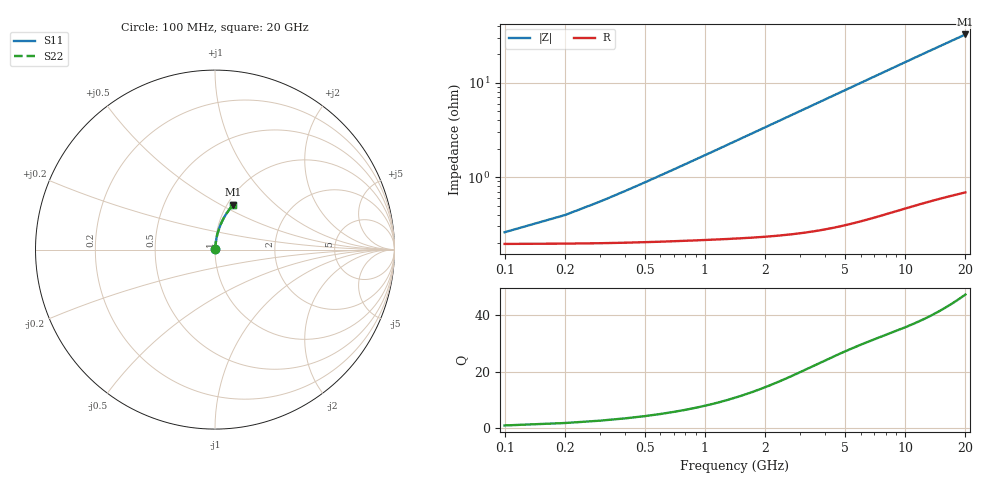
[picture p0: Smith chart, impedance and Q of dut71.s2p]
! Touchstone file exported from HFSS 2026.1.0
!  File:  C:/ffzhzh/LocalFiles/Ansys_Project_Files/temp_train_TMRDL_71_1782881207_42304.aedt
!  Generated:  12:48:00 PM Jul  1, 2026
!  Design:  TMRDL
!  Project:  temp_train_TMRDL_71_1782881207_42304
! Variables:
!  h_bsmrdl = 2um
!  h_ox = 20um
!  h_rdl = 5um
!  h_sub = 80um
!  h_tmrdl = 4.03um
!  h_tsv = 80um
!  h_via = 3um
!  l_bsmrdl = 300um
!  l_sub = 612.48um
!  l_tmrdl = 212.48um
!  m_sub = 200um
!  pitch = 50.4um
!  r_tsv = 6um
!  s_tmrdl = 10um
!  w_bsmrdl = 18um
!  w_sub = 500um
!  w_tmrdl = 10.11um
!  x_tsv_center1 = 217.535um
!  x_tsv_center2 = 535.535um
!  x_tsv_center3 = 758.125um
!  x_tsv_center4 = 1076.125um
!  x_tsv_center5 = 1298.715um
!  x_tsv_center6 = 1616.715um
# GHz S MA R 50.000000
! Terminal data exported
! Port[1] = TM_RDL1_1_T1
! Port[2] = TM_RDL1_1_T2
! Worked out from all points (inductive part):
!   200 points, 100 MHz to 20 GHz, reference 50 ohm
!   read as one part in series: L = 271 pH near 400 MHz
!   highest Q = 47.3 at 20 GHz (marker M1), where L = 259 pH
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0.1  0.002459 37.3  0.998 -0.1  0.998 -0.1  0.002459 37.3
! Gamma 0 0 0 0
! Port Impedance 50 0 50 0
0.2  0.003572 56.4  0.998 -0.2  0.998 -0.2  0.003572 56.4
0.3  0.004886 65.8  0.998 -0.3  0.998 -0.3  0.004887 65.8
0.4  0.006271 71.0  0.998 -0.4  0.998 -0.4  0.006272 71.0
0.5  0.007685 74.2  0.9979 -0.6  0.9979 -0.6  0.007685 74.2
0.6  0.00911 76.4  0.9979 -0.7  0.9979 -0.7  0.009111 76.4
0.8  0.01198 79.1  0.9978 -0.9  0.9978 -0.9  0.01198 79.1
1.1  0.01629 81.2  0.9977 -1.2  0.9977 -1.2  0.01629 81.2
1.5  0.02205 82.5  0.9975 -1.6  0.9975 -1.6  0.02205 82.5
1.8  0.02637 83.1  0.9974 -2.0  0.9974 -2.0  0.02637 83.1
2.1  0.0307 83.3  0.9972 -2.3  0.9972 -2.3  0.0307 83.3
2.7  0.03934 83.5  0.9968 -2.9  0.9968 -2.9  0.03934 83.5
3.5  0.05083 83.2  0.9961 -3.8  0.9961 -3.8  0.05083 83.2
4.2  0.06083 82.8  0.9953 -4.6  0.9953 -4.6  0.06083 82.8
5  0.07221 82.2  0.9943 -5.4  0.9943 -5.4  0.07221 82.2
5.9  0.08491 81.4  0.9931 -6.4  0.9931 -6.4  0.08491 81.4
6.8  0.09752 80.6  0.9916 -7.3  0.9916 -7.3  0.09752 80.6
8.3  0.1183 79.1  0.9889 -8.9  0.9889 -8.9  0.1183 79.1
10.1  0.1428 77.4  0.9852 -10.8  0.9852 -10.8  0.1428 77.4
13.4  0.1867 74.2  0.977 -14.2  0.977 -14.2  0.1867 74.2
16.7  0.2289 71.0  0.9674 -17.5  0.9674 -17.5  0.2289 71.0
20  0.2695 67.9  0.9564 -20.7  0.9564 -20.7  0.2695 67.9
